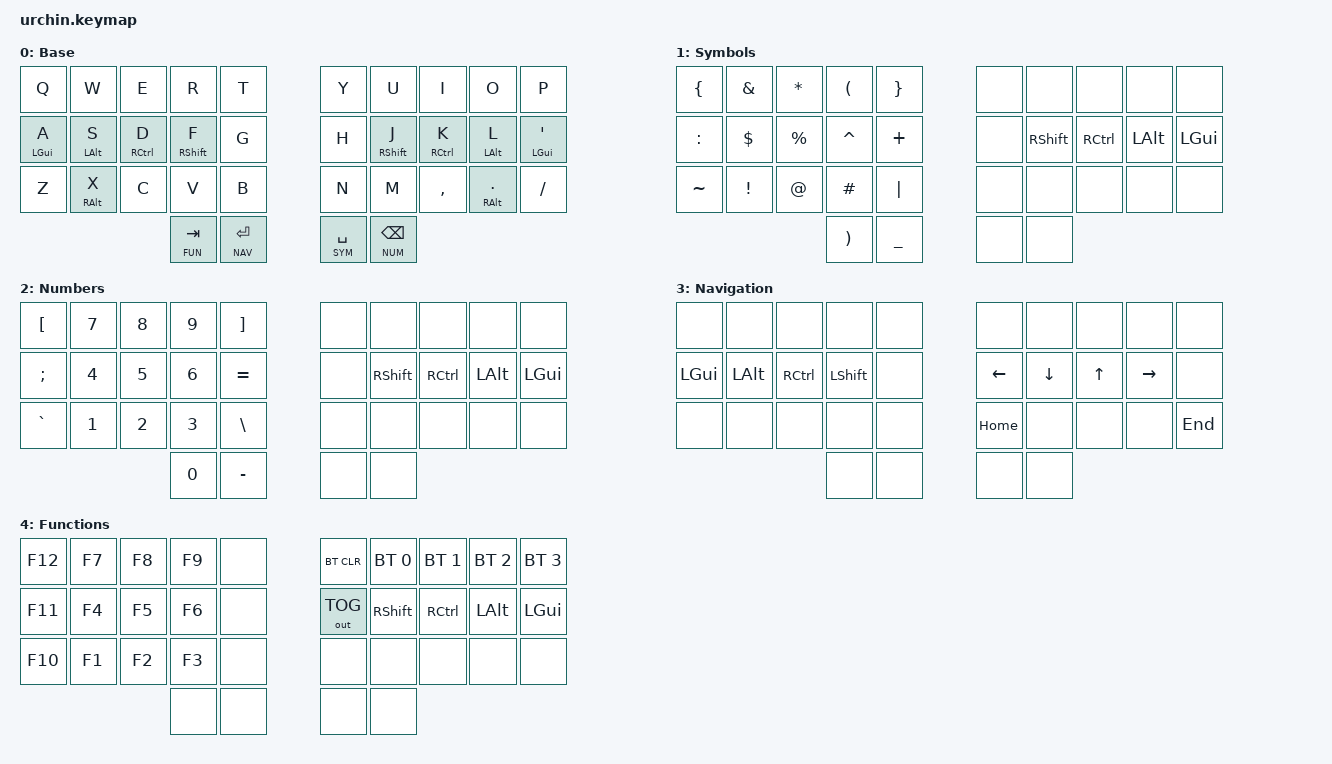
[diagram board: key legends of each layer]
/*
 * Copyright (c) 2020 duckyb
 *
 * SPDX-License-Identifier: MIT
 */

#include <behaviors.dtsi>
#include <dt-bindings/zmk/keys.h>
#include <dt-bindings/zmk/bt.h>
#include <dt-bindings/zmk/outputs.h>

// Layer definitions
#define BASE 0
#define SYM 1
#define NUM 2
#define NAV 3
#define FUN 4
// -----------------

&lt {
    // time (ms) to decide what is a tap and what is a hold when toggling layers
    tapping-term-ms = <150>;
};

&mt {
    // time (ms) to decide what is a tap and what is a hold when toggling modifiers
    tapping-term-ms = <150>;
};


/ {
	combos {
		compatible = "zmk,combos";

		combo_g_h {
			timeout-ms = <64>;
			key-positions = <14 15>;
			bindings = <&kp ESC>;
		};

		combo_b_n {
			timeout-ms = <64>;
			key-positions = <24 25>;
			bindings = <&kp CAPS>;
		};

		combo_z_slash {
			timeout-ms = <64>;
			key-positions = <20 29>;
			bindings = <&kp DEL>;
		};

		combo_bootload_1 {
			timeout-ms = <64>;
			key-positions = <30 31>;
			bindings = <&bootloader>;
		};

		combo_bootload_2 {
			timeout-ms = <64>;
			key-positions = <32 33>;
			bindings = <&bootloader>;
		};
	};

	 behaviors {
		hml: home_row_mod_left {
		    compatible = "zmk,behavior-hold-tap";
		    #binding-cells = <2>;
		    flavor = "balanced";
		    require-prior-idle-ms = <160>;
		    tapping-term-ms = <160>;
		    quick-tap-ms = <160>;
		    bindings = <&kp>, <&kp>;
		    hold-trigger-key-positions = <5 6 7 8 9 15 16 17 18 19 25 26 27 28 29 32 33>;  // List of keys on the right side of the keyboard
		    hold-trigger-on-release;
		};

		hmr: home_row_mod_right {
		    compatible = "zmk,behavior-hold-tap";
		    #binding-cells = <2>;
		    flavor = "balanced";
		    require-prior-idle-ms = <160>;
		    tapping-term-ms = <160>;
		    quick-tap-ms = <160>;
		    bindings = <&kp>, <&kp>;
		    hold-trigger-key-positions = <0 1 2 3 4 10 11 12 13 14 20 21 22 23 24 30 31>; // List of keys on the left side of the keyboard
		    hold-trigger-on-release;
		};
	    };

	keymap {
		compatible = "zmk,keymap";

		// Base alpha layer
		base_layer {
			label = "Base";
			bindings = <
				&kp Q       &kp W       &kp E        &kp R        &kp T      &kp Y    &kp U         &kp I         &kp O       &kp P
				&hml LGUI A  &hml LALT S  &hml RCTRL D  &hml RSHFT F  &kp G      &kp H    &hmr RSHFT J   &hmr RCTRL K   &hmr LALT L  &hmr LGUI SQT
				&kp Z       &hml RALT X       &kp C        &kp V        &kp B      &kp N    &kp M         &kp COMMA     &hmr RALT DOT     &kp FSLH
				&lt FUN TAB &lt NAV RET              &lt SYM SPACE           &lt NUM BSPC
			>;
		};

		// Symbols Layer
		sym_layer {
			label = "Symbols";
			bindings = <
				&kp LBRC    &kp AMPS   &kp STAR   &kp LPAR   &kp RBRC   &none    &none      &none       &none      &none
				&kp COLON   &kp DLLR   &kp PRCNT  &kp CARET  &kp PLUS   &none    &kp RSHFT  &kp RCTRL   &kp LALT   &kp LGUI
				&kp TILDE   &kp EXCL   &kp AT     &kp HASH   &kp PIPE   &none    &none      &none       &none      &none
				&kp RPAR    &kp UNDER             &none                 &none
			>;
		};

		// Numbers layer
		num_layer {
			label = "Numbers";
			bindings = <
				&kp LBKT    &kp N7     &kp N8     &kp N9     &kp RBKT   &none    &none      &none       &none      &none
				&kp SEMI    &kp N4     &kp N5     &kp N6     &kp EQUAL  &none    &kp RSHFT  &kp RCTRL   &kp LALT   &kp LGUI
				&kp GRAVE   &kp N1     &kp N2     &kp N3     &kp BSLH   &none    &none      &none       &none      &none
				&kp N0      &kp MINUS             &none                 &none
			>;
		};

		// Navigation layer
		nav_layer {
			label = "Navigation";
			bindings = <
				&none       &none      &none      &none      &none      &none    &none      &none       &none      &none
				&kp LGUI    &kp LALT   &kp RCTRL  &kp LSHFT  &none      &kp LEFT &kp DOWN   &kp UP      &kp RIGHT  &none
				&none       &none      &none      &none      &none      &kp HOME &none      &none       &none      &kp END
				&none       &none                 &none                 &none
			>;
		};

		// Functions layer
		fun_layer {
		    label = "Functions";
		    bindings = <
			&kp F12     &kp F7     &kp F8     &kp F9     &none      &bt BT_CLR    &bt BT_SEL 0  &bt BT_SEL 1  &bt BT_SEL 2  &bt BT_SEL 3
			&kp F11     &kp F4     &kp F5     &kp F6     &none      &out OUT_TOG  &kp RSHFT     &kp RCTRL     &kp LALT      &kp LGUI
			&kp F10     &kp F1     &kp F2     &kp F3     &none      &none         &none         &none         &none         &none
			&none       &none                 &none                 &none
		    >;
		};
	};
};
